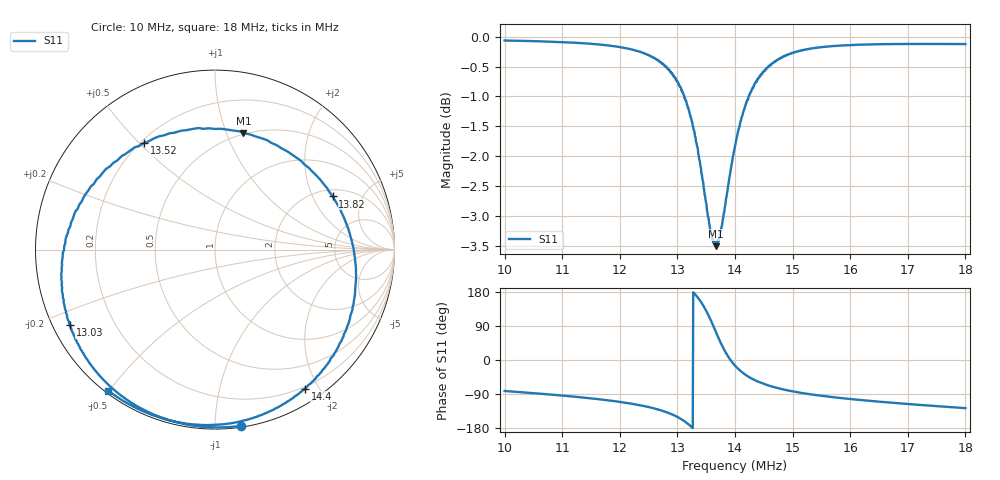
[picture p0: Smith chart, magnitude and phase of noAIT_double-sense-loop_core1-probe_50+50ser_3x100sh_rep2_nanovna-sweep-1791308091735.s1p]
! NanoVNA Web complex sweep
! Processing: unaveraged complex samples; linear segment spacing; no smoothing
# Hz S RI R 50
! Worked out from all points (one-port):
!   1010 points, 10 MHz to 18 MHz, reference 50 ohm
!   lowest |S11| = -3.5 dB at 13.66 MHz (marker M1), VSWR 5.02, Z = 24.5 + j57.4 ohm
!   |S11| at or under -10 dB: nowhere
!   S11 on the Smith chart (normalised r, x): 10 MHz: 0.01, -1.16; 13.03 MHz: 0.05, -0.24; 13.52 MHz: 0.21, +0.52; 13.82 MHz: 2.34, +2.87; 14.4 MHz: 0.18, -1.83; 18 MHz: 0.01, -0.50
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1e7  0.1428 -0.9823
1.100698e7  -0.0677 -0.9872
1.200604e7  -0.3455 -0.9171
1.234698e7  -0.4745 -0.8476
1.260864e7  -0.5934 -0.7537
1.283065e7  -0.7082 -0.6193
1.300509e7  -0.7992 -0.4492
1.302888e7  -0.8079 -0.4193
1.319539e7  -0.855 -0.1525
1.331432e7  -0.8161 0.1125
1.34174e7  -0.6751 0.3659
1.352048e7  -0.3956 0.5942
1.359184e7  -0.1243 0.6724
1.36632e7  0.1578 0.6491
1.375042e7  0.484 0.4909
1.382178e7  0.6558 0.296
1.3909e7  0.7631 0.0443
1.400414e7  0.7813 -0.2191
1.409136e7  0.7472 -0.4001
1.418651e7  0.6781 -0.5568
1.428959e7  0.5949 -0.6794
1.44006e7  0.502 -0.7744
1.466225e7  0.3101 -0.8988
1.50032e7  0.1205 -0.9616
1.545515e7  -0.0614 -0.9774
1.600225e7  -0.2213 -0.9581
1.700131e7  -0.4344 -0.8851
1.800036e7  -0.5937 -0.7868
